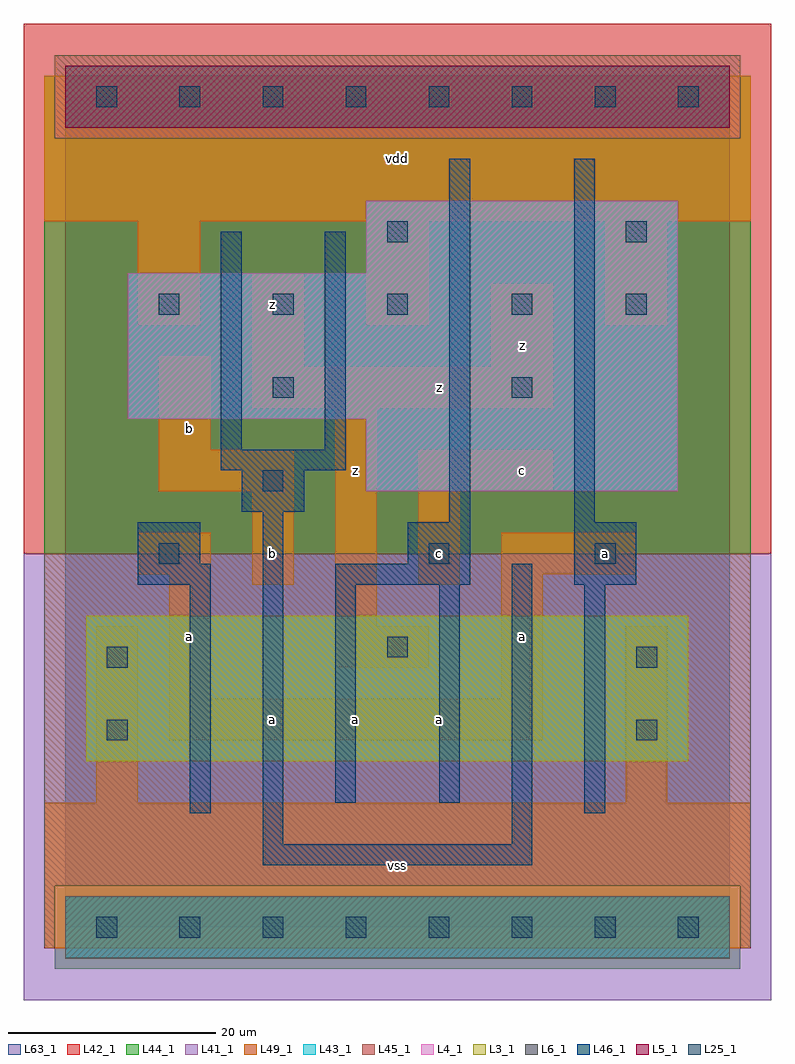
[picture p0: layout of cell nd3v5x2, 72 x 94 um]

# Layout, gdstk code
import gdstk
lib = gdstk.Library(unit=1e-6, precision=1e-09)
def R(c, l, rs):  # rectangles x0, y0, x1, y1
    for r in rs: c.add(gdstk.rectangle(r[:2], r[2:], *l))
def A(c, l, x, y, w, h, nx, ny, dx, dy):  # array of equal rectangles
    R(c, l, [(x+i*dx, y+j*dy, x+i*dx+w, y+j*dy+h) for i in range(nx) for j in range(ny)])
L3_1 = (3, 1)
L4_1 = (4, 1)
L5_1 = (5, 1)
L6_1 = (6, 1)
L25_1 = (25, 1)
L41_1 = (41, 1)
L42_1 = (42, 1)
L43_1 = (43, 1)
L44_1 = (44, 1)
L45_1 = (45, 1)
L46_1 = (46, 1)
L49_1 = (49, 1)
L63_1 = (63, 1)

nd3v5x2 = lib.new_cell('nd3v5x2')
R(nd3v5x2, L3_1, [(2,16,60,30)])
R(nd3v5x2, L4_1, [(29,42,59,49), (6,49,59,63), (29,63,59,70)])
R(nd3v5x2, L5_1, [(0,77,64,83)])
R(nd3v5x2, L6_1, [(0,-3,64,3), (0,-3,64,3)])
A(nd3v5x2, L25_1, 3, -1, 2, 2, 8, 2, 8, 80)
A(nd3v5x2, L25_1, 9, 59, 2, 2, 3, 1, 11, 0)
R(nd3v5x2, L25_1, [(4,18,6,20), (55,18,57,20), (4,25,6,27), (55,25,57,27), (31,26,33,28), (9,35,11,37), (35,35,37,37), (51,35,53,37), (19,42,21,44), (20,51,22,53), (43,51,45,53), (43,59,45,61), (54,59,56,61), (31,66,33,68), (54,66,56,68)])
R(nd3v5x2, L41_1, [(-4,-7,68,36)])
R(nd3v5x2, L42_1, [(-4,36,68,87)])
R(nd3v5x2, L43_1, [(0,-3,64,3), (2,16,60,30), (29,42,59,49), (6,49,59,63), (29,63,59,70), (0,77,64,83)])
R(nd3v5x2, L44_1, [(-1,-4,65,4), (-2,36,66,76), (-2,76,-1,82), (65,76,66,82)])
R(nd3v5x2, L45_1, [(-2,-2,-1,4), (65,-2,66,4), (-2,4,66,36), (-1,76,65,84)])
R(nd3v5x2, L46_1, [(19,6,45,8), (19,8,21,40), (43,8,45,35), (12,11,14,33), (50,11,52,33), (26,12,28,33), (36,12,38,33), (7,33,14,35), (26,33,39,35), (49,33,55,39), (7,35,13,39), (33,35,39,39), (37,39,39,74), (49,39,51,74), (17,40,23,44), (15,44,27,46), (15,46,17,67), (25,46,27,67)])
R(nd3v5x2, L49_1, [(-2,-2,66,12), (3,12,7,29), (54,12,58,29), (10,18,46,22), (10,22,14,34), (42,22,46,34), (26,25,35,29), (26,29,30,50), (18,33,22,42), (34,33,38,42), (7,34,14,38), (42,34,55,38), (9,42,22,46), (34,42,47,46), (9,46,14,55), (18,50,47,54), (18,54,23,63), (41,54,47,62), (7,58,13,68), (29,58,35,68), (52,58,58,68), (-2,68,66,82)])
R(nd3v5x2, L63_1, [(0,0,64,80)])
nd3v5x2.add(gdstk.Label('a', (12,28), layer=49, texttype=1))
nd3v5x2.add(gdstk.Label('a', (20,20), layer=49, texttype=1))
nd3v5x2.add(gdstk.Label('b', (20,36), layer=49, texttype=1))
nd3v5x2.add(gdstk.Label('b', (12,48), layer=49, texttype=1))
nd3v5x2.add(gdstk.Label('z', (20,60), layer=49, texttype=1))
nd3v5x2.add(gdstk.Label('vss', (32,6), layer=49, texttype=1))
nd3v5x2.add(gdstk.Label('a', (28,20), layer=49, texttype=1))
nd3v5x2.add(gdstk.Label('a', (36,20), layer=49, texttype=1))
nd3v5x2.add(gdstk.Label('z', (28,44), layer=49, texttype=1))
nd3v5x2.add(gdstk.Label('c', (36,36), layer=49, texttype=1))
nd3v5x2.add(gdstk.Label('z', (36,52), layer=49, texttype=1))
nd3v5x2.add(gdstk.Label('vdd', (32,74), layer=49, texttype=1))
nd3v5x2.add(gdstk.Label('a', (44,28), layer=49, texttype=1))
nd3v5x2.add(gdstk.Label('c', (44,44), layer=49, texttype=1))
nd3v5x2.add(gdstk.Label('z', (44,56), layer=49, texttype=1))
nd3v5x2.add(gdstk.Label('a', (52,36), layer=49, texttype=1))

lib.write_gds('nd3v5x2.gds')
